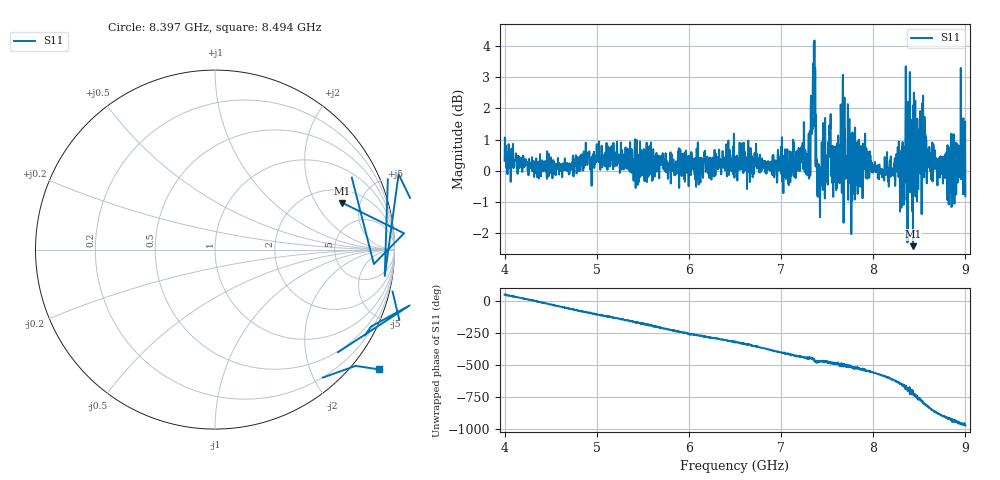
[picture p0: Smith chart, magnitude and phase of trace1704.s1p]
! Created with skrf 1.8.0 (http://scikit-rf.org).
# Hz S RI R 50.0
!freq ReS11 ImS11
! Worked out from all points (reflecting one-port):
!   1601 points, 4 GHz to 9 GHz, reference 50 ohm
!   lowest |S11| = -2.4 dB at 8.431 GHz (marker M1), VSWR 7.20, Z = 141 + j171 ohm
!   phase of S11 starts at 52 deg and turns -1023 deg over the sweep
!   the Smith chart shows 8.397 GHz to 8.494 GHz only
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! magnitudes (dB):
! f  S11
! 4 GHz  0.3
! 4.625 GHz  -0.2
! 5.25 GHz  -0.1
! 5.875 GHz  0.1
! 6.5 GHz  0.1
! 7.125 GHz  0.5
! 7.294 GHz  0.4
! 7.347 GHz  3.4
! 7.369 GHz  3.3
! 7.4 GHz  -0.5
! 7.412 GHz  0.0
! 7.525 GHz  1.2
! 7.578 GHz  0.2
! 7.616 GHz  -0.3
! 7.669 GHz  2.9
! 7.703 GHz  0.1
! 7.75 GHz  0.3
! 8.259 GHz  0.2
! 8.312 GHz  0.7
! 8.334 GHz  0.5
! 8.347 GHz  0.3
! 8.375 GHz  1.2
! 8.431 GHz  -2.4
! 8.553 GHz  -0.2
! 8.606 GHz  0.3
! 8.794 GHz  -0.3
! 8.953 GHz  -0.3
! 9 GHz  -0.8
